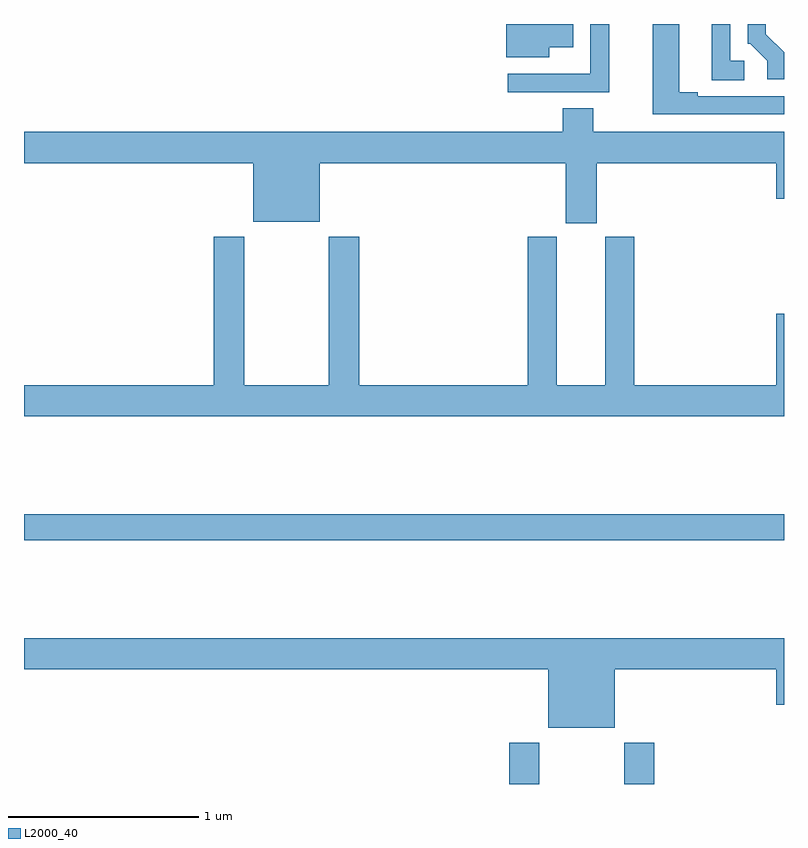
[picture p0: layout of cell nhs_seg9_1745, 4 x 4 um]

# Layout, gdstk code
import gdstk
lib = gdstk.Library(unit=1e-6, precision=1e-09)
def R(c, l, rs):  # rectangles x0, y0, x1, y1
    for r in rs: c.add(gdstk.rectangle(r[:2], r[2:], *l))
def P(c, l, *ps):  # polygons
    for p in ps: c.add(gdstk.Polygon(p, *l))
L2000_40 = (2000, 40)

nhs_seg9_1745 = lib.new_cell('nhs_seg9_1745')
R(nhs_seg9_1745, L2000_40, [(211.553,1178.5,211.713,1178.716), (212.158,1178.5,212.318,1178.716), (209,1179.784,213,1179.92)])
P(nhs_seg9_1745, L2000_40, [(213,1182.12),(212.545,1182.12),(212.545,1182.14),(212.449,1182.14),(212.449,1182.5),(212.309,1182.5),(212.309,1182.024),(213,1182.024)],
  [(213,1182.351),(212.905,1182.446),(212.905,1182.5),(212.808,1182.5),(212.808,1182.396),(212.823,1182.396),(212.913,1182.306),(212.913,1182.21),(213,1182.21)],
  [(212.791,1182.306),(212.718,1182.306),(212.718,1182.5),(212.621,1182.5),(212.621,1182.205),(212.791,1182.205)],
  [(212.079,1182.5),(211.98,1182.5),(211.98,1182.238),(211.979,1182.238),(211.979,1182.237),(211.545,1182.237),(211.545,1182.141),(212.079,1182.141)],
  [(211.765,1182.377),(211.891,1182.377),(211.891,1182.5),(211.538,1182.5),(211.538,1182.326),(211.765,1182.326)],
  [(212.014,1181.768),(212.96,1181.768),(212.96,1181.58),(213,1181.58),(213,1181.932),(211.995,1181.932),(211.995,1182.056),(211.835,1182.056),(211.835,1181.932),(209,1181.932),(209,1181.768),(210.206,1181.768),(210.206,1181.459),(210.556,1181.459),(210.556,1181.768),(211.85,1181.768),(211.85,1181.451),(212.014,1181.451)],
  [(213,1180.975),(212.96,1180.975),(212.96,1180.6),(212.213,1180.6),(212.213,1181.379),(212.06,1181.379),(212.06,1180.6),(211.804,1180.6),(211.804,1181.379),(211.652,1181.379),(211.652,1180.6),(210.764,1180.6),(210.764,1181.38),(210.604,1181.38),(210.604,1180.6),(210.159,1180.6),(210.159,1181.38),(209.999,1181.38),(209.999,1180.6),(209,1180.6),(209,1180.436),(213,1180.436)],
  [(212.11,1179.104),(212.96,1179.104),(212.96,1178.916),(213,1178.916),(213,1179.268),(209,1179.268),(209,1179.104),(211.76,1179.104),(211.76,1178.795),(212.11,1178.795)])

lib.write_gds('nhs_seg9_1745.gds')
